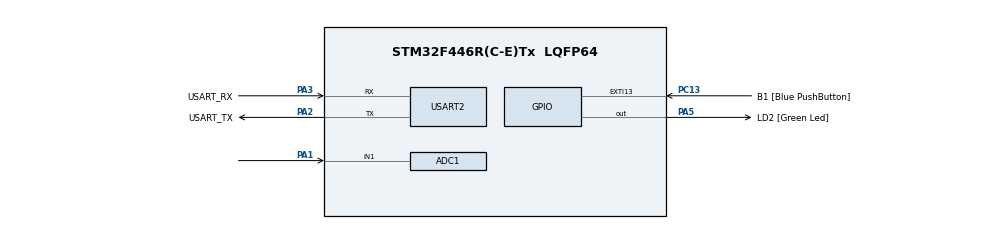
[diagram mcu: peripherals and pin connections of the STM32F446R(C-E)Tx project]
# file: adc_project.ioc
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ADC1.Channel-3\#ChannelRegularConversion=ADC_CHANNEL_1
ADC1.NbrOfConversionFlag=1
ADC1.Rank-3\#ChannelRegularConversion=1
ADC1.SamplingTime-3\#ChannelRegularConversion=ADC_SAMPLETIME_3CYCLES
ADC1.master=1
Dma.Request0=USART2_TX
Dma.USART2_TX.0.Direction=DMA_MEMORY_TO_PERIPH
Dma.USART2_TX.0.FIFOMode=DMA_FIFOMODE_DISABLE
Dma.USART2_TX.0.Instance=DMA1_Stream6
Dma.USART2_TX.0.MemDataAlignment=DMA_MDATAALIGN_BYTE
Dma.USART2_TX.0.MemInc=DMA_MINC_ENABLE
Dma.USART2_TX.0.Mode=DMA_NORMAL
Dma.USART2_TX.0.PeriphDataAlignment=DMA_PDATAALIGN_BYTE
Dma.USART2_TX.0.PeriphInc=DMA_PINC_DISABLE
Dma.USART2_TX.0.Priority=DMA_PRIORITY_LOW
Mcu.Family=STM32F4
Mcu.Name=STM32F446R(C-E)Tx
Mcu.Package=LQFP64
NVIC.ADC_IRQn=true\:0\:0\:false\:false\:true\:true\:true\:true
NVIC.DMA1_Stream6_IRQn=true\:0\:0\:false\:false\:true\:false\:true\:true
NVIC.PriorityGroup=NVIC_PRIORITYGROUP_0
NVIC.TIM2_IRQn=true\:0\:0\:false\:false\:true\:true\:true\:true
NVIC.TIM3_IRQn=true\:0\:0\:false\:false\:true\:true\:true\:true
NVIC.USART2_IRQn=true\:0\:0\:false\:false\:true\:true\:true\:true
PA1.Signal=ADCx_IN1
PA13.GPIO_Label=TMS
PA13.Mode=Serial_Wire
PA13.Signal=SYS_JTMS-SWDIO
PA14.GPIO_Label=TCK
PA14.Mode=Serial_Wire
PA14.Signal=SYS_JTCK-SWCLK
PA2.GPIO_Label=USART_TX
PA2.Mode=Asynchronous
PA2.Signal=USART2_TX
PA3.GPIO_Label=USART_RX
PA3.Mode=Asynchronous
PA3.Signal=USART2_RX
PA5.GPIO_Label=LD2 [Green Led]
PA5.Signal=GPIO_Output
PB3.GPIO_Label=SWO
PB3.Signal=SYS_JTDO-SWO
PC13.GPIO_Label=B1 [Blue PushButton]
PC13.GPIO_ModeDefaultEXTI=GPIO_MODE_IT_FALLING
PC13.Signal=GPXTI13
PC14-OSC32_IN.Signal=RCC_OSC32_IN
PC15-OSC32_OUT.Signal=RCC_OSC32_OUT
PH0-OSC_IN.Mode=HSE-External-Oscillator
PH0-OSC_IN.Signal=RCC_OSC_IN
PH1-OSC_OUT.Mode=HSE-External-Oscillator
PH1-OSC_OUT.Signal=RCC_OSC_OUT
ProjectManager.HeapSize=0x200
ProjectManager.StackSize=0x400
ProjectManager.TargetToolchain=STM32CubeIDE
RCC.48MHZClocksFreq_Value=84000000
RCC.AHBFreq_Value=84000000
RCC.APB1CLKDivider=RCC_HCLK_DIV2
RCC.APB1Freq_Value=42000000
RCC.APB1TimFreq_Value=84000000
RCC.APB2Freq_Value=84000000
RCC.APB2TimFreq_Value=84000000
RCC.CortexFreq_Value=84000000
RCC.FLatency-AdvancedSettings=FLASH_LATENCY_2
RCC.HCLKFreq_Value=84000000
RCC.HSE_VALUE=8000000
RCC.HSI_VALUE=16000000
RCC.PLLN=336
RCC.PLLP=RCC_PLLP_DIV4
RCC.SYSCLKFreq_VALUE=84000000
RCC.SYSCLKSource=RCC_SYSCLKSOURCE_PLLCLK
RCC.USBFreq_Value=168000000
RCC.VCOOutputFreq_Value=336000000
SH.ADCx_IN1.0=ADC1_IN1,IN1
TIM2.Period=49
TIM2.Prescaler=83
TIM3.Period=33332
TIM3.Prescaler=83
USART2.VirtualMode=VM_ASYNC
VP_TIM2_VS_ClockSourceINT.Mode=Internal
VP_TIM3_VS_ClockSourceINT.Mode=Internal
board=NUCLEO-F446RE

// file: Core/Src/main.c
/* USER CODE BEGIN Header */
/**
  ******************************************************************************
  * @file           : main.c
  * @brief          : Main program body
  ******************************************************************************
  * @attention
  *
  * Copyright (c) 2025 STMicroelectronics.
  * All rights reserved.
  *
  * This software is licensed under terms that can be found in the LICENSE file
  * in the root directory of this software component.
  * If no LICENSE file comes with this software, it is provided AS-IS.
  *x
  ******************************************************************************
  */
/* USER CODE END Header */
#include "main.h"

/* USER CODE BEGIN Includes */
#include "adc.h"
#include "circbuf.h"
#include "timer.h"
#include "uart.h"
#include "display.h"

/* USER CODE END Includes */

void SystemClock_Config(void);
static void MX_GPIO_Init(void);
static void MX_DMA_Init(void);
static void MX_USART2_UART_Init(void);
static void MX_ADC1_Init(void);
static void MX_TIM2_Init(void);
static void MX_TIM3_Init(void);

int main(void)
{

  /* MCU Configuration--------------------------------------------------------*/

  /* Reset of all peripherals, Initializes the Flash interface and the Systick. */
  LL_APB2_GRP1_EnableClock(LL_APB2_GRP1_PERIPH_SYSCFG);
  LL_APB1_GRP1_EnableClock(LL_APB1_GRP1_PERIPH_PWR);

  /* System interrupt init*/
  NVIC_SetPriorityGrouping(NVIC_PRIORITYGROUP_0);

  /* Configure the system clock */
  SystemClock_Config();

  /* Initialize all configured peripherals */
  MX_GPIO_Init();
  MX_DMA_Init();
  MX_USART2_UART_Init();
  MX_ADC1_Init();
  MX_TIM2_Init();
  MX_TIM3_Init();
  /* USER CODE BEGIN 2 */
  circbuf_init(&txbuf);
  uart_init(&uart, &txbuf);
  adc_init(&adc, &txbuf);
  timer_init(&timer);
  display_init(&disp);

  uart_DMA_printf(&uart, "\nUART initialized!\r\n");
  uart_DMA_printf(&uart, "Circular Buffer initialized!\r\n");
  uart_DMA_printf(&uart, "ADC initialized!\r\n");
  uart_DMA_printf(&uart, "Timers initialized\r\n");

  /* USER CODE END 2 */

  /* Infinite loop */
  /* USER CODE BEGIN WHILE */

  while (1)
  {
	  if (adc_tick == 1) {
	          adc_tick = 0;
	          adc_start_conversion(&adc);
	  }

	  if (display_tick == 1) {
	          display_tick = 0;
	          display_update(&adc, &txbuf);
	  }

    /* USER CODE END WHILE */

  }
}

void SystemClock_Config(void)
{
  LL_FLASH_SetLatency(LL_FLASH_LATENCY_2);
  while(LL_FLASH_GetLatency()!= LL_FLASH_LATENCY_2)
  {
  }
  LL_PWR_SetRegulVoltageScaling(LL_PWR_REGU_VOLTAGE_SCALE3);
  LL_PWR_DisableOverDriveMode();
  LL_RCC_HSI_SetCalibTrimming(16);
  LL_RCC_HSI_Enable();

   /* Wait till HSI is ready */
  while(LL_RCC_HSI_IsReady() != 1)
  {

  }
  LL_RCC_PLL_ConfigDomain_SYS(LL_RCC_PLLSOURCE_HSI, LL_RCC_PLLM_DIV_16, 336, LL_RCC_PLLP_DIV_4);
  LL_RCC_PLL_Enable();

   /* Wait till PLL is ready */
  while(LL_RCC_PLL_IsReady() != 1)
  {

  }
  while (LL_PWR_IsActiveFlag_VOS() == 0)
  {
  }
  LL_RCC_SetAHBPrescaler(LL_RCC_SYSCLK_DIV_1);
  LL_RCC_SetAPB1Prescaler(LL_RCC_APB1_DIV_2);
  LL_RCC_SetAPB2Prescaler(LL_RCC_APB2_DIV_1);
  LL_RCC_SetSysClkSource(LL_RCC_SYS_CLKSOURCE_PLL);

   /* Wait till System clock is ready */
  while(LL_RCC_GetSysClkSource() != LL_RCC_SYS_CLKSOURCE_STATUS_PLL)
  {

  }
  LL_Init1msTick(84000000);
  LL_SetSystemCoreClock(84000000);
  LL_RCC_SetTIMPrescaler(LL_RCC_TIM_PRESCALER_TWICE);
}

static void MX_ADC1_Init(void)
{

  LL_ADC_InitTypeDef ADC_InitStruct = {0};
  LL_ADC_REG_InitTypeDef ADC_REG_InitStruct = {0};
  LL_ADC_CommonInitTypeDef ADC_CommonInitStruct = {0};

  LL_GPIO_InitTypeDef GPIO_InitStruct = {0};

  /* Peripheral clock enable */
  LL_APB2_GRP1_EnableClock(LL_APB2_GRP1_PERIPH_ADC1);

  LL_AHB1_GRP1_EnableClock(LL_AHB1_GRP1_PERIPH_GPIOA);
  /**ADC1 GPIO Configuration
  PA1   ------> ADC1_IN1
  */
  GPIO_InitStruct.Pin = LL_GPIO_PIN_1;
  GPIO_InitStruct.Mode = LL_GPIO_MODE_ANALOG;
  GPIO_InitStruct.Pull = LL_GPIO_PULL_NO;
  LL_GPIO_Init(GPIOA, &GPIO_InitStruct);

  /* ADC1 interrupt Init */
  NVIC_SetPriority(ADC_IRQn, NVIC_EncodePriority(NVIC_GetPriorityGrouping(),0, 0));
  NVIC_EnableIRQ(ADC_IRQn);

  /** Common config
  */
  ADC_InitStruct.Resolution = LL_ADC_RESOLUTION_12B;
  ADC_InitStruct.DataAlignment = LL_ADC_DATA_ALIGN_RIGHT;
  ADC_InitStruct.SequencersScanMode = LL_ADC_SEQ_SCAN_DISABLE;
  LL_ADC_Init(ADC1, &ADC_InitStruct);
  ADC_REG_InitStruct.TriggerSource = LL_ADC_REG_TRIG_SOFTWARE;
  ADC_REG_InitStruct.SequencerLength = LL_ADC_REG_SEQ_SCAN_DISABLE;
  ADC_REG_InitStruct.SequencerDiscont = LL_ADC_REG_SEQ_DISCONT_DISABLE;
  ADC_REG_InitStruct.ContinuousMode = LL_ADC_REG_CONV_SINGLE;
  ADC_REG_InitStruct.DMATransfer = LL_ADC_REG_DMA_TRANSFER_NONE;
  LL_ADC_REG_Init(ADC1, &ADC_REG_InitStruct);
  LL_ADC_REG_SetFlagEndOfConversion(ADC1, LL_ADC_REG_FLAG_EOC_UNITARY_CONV);
  ADC_CommonInitStruct.CommonClock = LL_ADC_CLOCK_SYNC_PCLK_DIV4;
  ADC_CommonInitStruct.Multimode = LL_ADC_MULTI_INDEPENDENT;
  LL_ADC_CommonInit(__LL_ADC_COMMON_INSTANCE(ADC1), &ADC_CommonInitStruct);

  /** Configure Regular Channel
  */
  LL_ADC_REG_SetSequencerRanks(ADC1, LL_ADC_REG_RANK_1, LL_ADC_CHANNEL_1);
  LL_ADC_SetChannelSamplingTime(ADC1, LL_ADC_CHANNEL_1, LL_ADC_SAMPLINGTIME_3CYCLES);

}

static void MX_TIM2_Init(void)
{

  LL_TIM_InitTypeDef TIM_InitStruct = {0};

  /* Peripheral clock enable */
  LL_APB1_GRP1_EnableClock(LL_APB1_GRP1_PERIPH_TIM2);

  /* TIM2 interrupt Init */
  NVIC_SetPriority(TIM2_IRQn, NVIC_EncodePriority(NVIC_GetPriorityGrouping(),0, 0));
  NVIC_EnableIRQ(TIM2_IRQn);

  TIM_InitStruct.CounterMode = LL_TIM_COUNTERMODE_UP;

  TIM_InitStruct.ClockDivision = LL_TIM_CLOCKDIVISION_DIV1;
  LL_TIM_Init(TIM2, &TIM_InitStruct);
  LL_TIM_DisableARRPreload(TIM2);
  LL_TIM_SetClockSource(TIM2, LL_TIM_CLOCKSOURCE_INTERNAL);
  LL_TIM_SetTriggerOutput(TIM2, LL_TIM_TRGO_RESET);
  LL_TIM_DisableMasterSlaveMode(TIM2);

}

static void MX_TIM3_Init(void)
{

  LL_TIM_InitTypeDef TIM_InitStruct = {0};

  /* Peripheral clock enable */
  LL_APB1_GRP1_EnableClock(LL_APB1_GRP1_PERIPH_TIM3);

  /* TIM3 interrupt Init */
  NVIC_SetPriority(TIM3_IRQn, NVIC_EncodePriority(NVIC_GetPriorityGrouping(),0, 0));
  NVIC_EnableIRQ(TIM3_IRQn);

  TIM_InitStruct.CounterMode = LL_TIM_COUNTERMODE_UP;

  TIM_InitStruct.ClockDivision = LL_TIM_CLOCKDIVISION_DIV1;
  LL_TIM_Init(TIM3, &TIM_InitStruct);
  LL_TIM_DisableARRPreload(TIM3);
  LL_TIM_SetClockSource(TIM3, LL_TIM_CLOCKSOURCE_INTERNAL);
  LL_TIM_SetTriggerOutput(TIM3, LL_TIM_TRGO_RESET);
  LL_TIM_DisableMasterSlaveMode(TIM3);

}

static void MX_USART2_UART_Init(void)
{

  LL_USART_InitTypeDef USART_InitStruct = {0};

  LL_GPIO_InitTypeDef GPIO_InitStruct = {0};

  /* Peripheral clock enable */
  LL_APB1_GRP1_EnableClock(LL_APB1_GRP1_PERIPH_USART2);

  LL_AHB1_GRP1_EnableClock(LL_AHB1_GRP1_PERIPH_GPIOA);
  /**USART2 GPIO Configuration
  PA2   ------> USART2_TX
  PA3   ------> USART2_RX
  */
  GPIO_InitStruct.Pin = USART_TX_Pin|USART_RX_Pin;
  GPIO_InitStruct.Mode = LL_GPIO_MODE_ALTERNATE;
  GPIO_InitStruct.Speed = LL_GPIO_SPEED_FREQ_VERY_HIGH;
  GPIO_InitStruct.OutputType = LL_GPIO_OUTPUT_PUSHPULL;
  GPIO_InitStruct.Pull = LL_GPIO_PULL_NO;
  GPIO_InitStruct.Alternate = LL_GPIO_AF_7;
  LL_GPIO_Init(GPIOA, &GPIO_InitStruct);

  /* USART2 DMA Init */

  /* USART2_TX Init */
  LL_DMA_SetChannelSelection(DMA1, LL_DMA_STREAM_6, LL_DMA_CHANNEL_4);

  LL_DMA_SetDataTransferDirection(DMA1, LL_DMA_STREAM_6, LL_DMA_DIRECTION_MEMORY_TO_PERIPH);

  LL_DMA_SetStreamPriorityLevel(DMA1, LL_DMA_STREAM_6, LL_DMA_PRIORITY_LOW);

  LL_DMA_SetMode(DMA1, LL_DMA_STREAM_6, LL_DMA_MODE_NORMAL);

  LL_DMA_SetPeriphIncMode(DMA1, LL_DMA_STREAM_6, LL_DMA_PERIPH_NOINCREMENT);

  LL_DMA_SetMemoryIncMode(DMA1, LL_DMA_STREAM_6, LL_DMA_MEMORY_INCREMENT);

  LL_DMA_SetPeriphSize(DMA1, LL_DMA_STREAM_6, LL_DMA_PDATAALIGN_BYTE);

  LL_DMA_SetMemorySize(DMA1, LL_DMA_STREAM_6, LL_DMA_MDATAALIGN_BYTE);

  LL_DMA_DisableFifoMode(DMA1, LL_DMA_STREAM_6);

  /* USART2 interrupt Init */
  NVIC_SetPriority(USART2_IRQn, NVIC_EncodePriority(NVIC_GetPriorityGrouping(),0, 0));
  NVIC_EnableIRQ(USART2_IRQn);

  USART_InitStruct.BaudRate = 115200;
  USART_InitStruct.DataWidth = LL_USART_DATAWIDTH_8B;
  USART_InitStruct.StopBits = LL_USART_STOPBITS_1;
  USART_InitStruct.Parity = LL_USART_PARITY_NONE;
  USART_InitStruct.TransferDirection = LL_USART_DIRECTION_TX_RX;
  USART_InitStruct.HardwareFlowControl = LL_USART_HWCONTROL_NONE;
  USART_InitStruct.OverSampling = LL_USART_OVERSAMPLING_16;
  LL_USART_Init(USART2, &USART_InitStruct);
  LL_USART_ConfigAsyncMode(USART2);
  LL_USART_Enable(USART2);

}

static void MX_DMA_Init(void)
{

  /* Init with LL driver */
  /* DMA controller clock enable */
  LL_AHB1_GRP1_EnableClock(LL_AHB1_GRP1_PERIPH_DMA1);

  /* DMA interrupt init */
  /* DMA1_Stream6_IRQn interrupt configuration */
  NVIC_SetPriority(DMA1_Stream6_IRQn, NVIC_EncodePriority(NVIC_GetPriorityGrouping(),0, 0));
  NVIC_EnableIRQ(DMA1_Stream6_IRQn);

}

static void MX_GPIO_Init(void)
{
  LL_EXTI_InitTypeDef EXTI_InitStruct = {0};
  LL_GPIO_InitTypeDef GPIO_InitStruct = {0};

  /* GPIO Ports Clock Enable */
  LL_AHB1_GRP1_EnableClock(LL_AHB1_GRP1_PERIPH_GPIOC);
  LL_AHB1_GRP1_EnableClock(LL_AHB1_GRP1_PERIPH_GPIOH);
  LL_AHB1_GRP1_EnableClock(LL_AHB1_GRP1_PERIPH_GPIOA);
  LL_AHB1_GRP1_EnableClock(LL_AHB1_GRP1_PERIPH_GPIOB);

  /**/
  LL_GPIO_ResetOutputPin(LD2_GPIO_Port, LD2_Pin);

  /**/
  LL_SYSCFG_SetEXTISource(LL_SYSCFG_EXTI_PORTC, LL_SYSCFG_EXTI_LINE13);

  /**/
  EXTI_InitStruct.Line_0_31 = LL_EXTI_LINE_13;
  EXTI_InitStruct.LineCommand = ENABLE;
  EXTI_InitStruct.Mode = LL_EXTI_MODE_IT;
  EXTI_InitStruct.Trigger = LL_EXTI_TRIGGER_FALLING;
  LL_EXTI_Init(&EXTI_InitStruct);

  /**/
  LL_GPIO_SetPinPull(B1_GPIO_Port, B1_Pin, LL_GPIO_PULL_NO);

  /**/
  LL_GPIO_SetPinMode(B1_GPIO_Port, B1_Pin, LL_GPIO_MODE_INPUT);

  /**/
  GPIO_InitStruct.Pin = LD2_Pin;
  GPIO_InitStruct.Mode = LL_GPIO_MODE_OUTPUT;
  GPIO_InitStruct.Speed = LL_GPIO_SPEED_FREQ_LOW;
  GPIO_InitStruct.OutputType = LL_GPIO_OUTPUT_PUSHPULL;
  GPIO_InitStruct.Pull = LL_GPIO_PULL_NO;
  LL_GPIO_Init(LD2_GPIO_Port, &GPIO_InitStruct);

}

void Error_Handler(void)
{
  __disable_irq();
  while (1)
  {
  }
}
